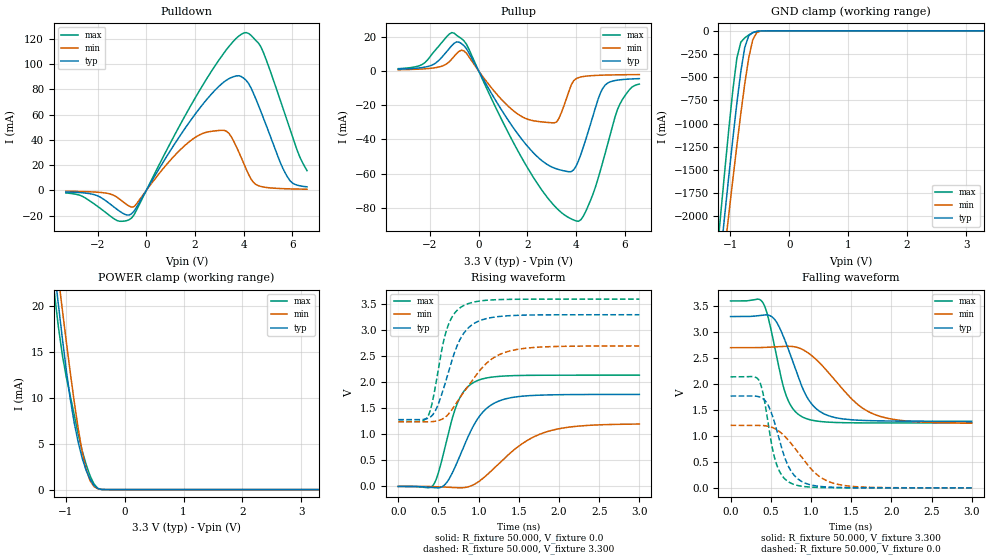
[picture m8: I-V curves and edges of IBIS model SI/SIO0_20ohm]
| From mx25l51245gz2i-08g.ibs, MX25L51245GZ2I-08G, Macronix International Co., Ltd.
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|   Model SI/SIO0_20ohm
[Model] SI/SIO0_20ohm
Model_type I/O
Vinl = 0.8
Vinh = 2.31
Vmeas = 1.65
Vref = 3.3
Cref = 30pF
Rref = 25000
Polarity   Non-Inverting
Enable   Active-High
C_comp   4.988pF   4.400pF   5.830pF
[Temperature Range]   25.000   85.000   -40.000
[Voltage Range]   3.300V   2.700V   3.600V
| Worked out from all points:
|   slope of the pulldown table from 0 to 0.495 V, typ, clamps not added: 30.6 ohm
|   slope of the pullup table from 0 to 0.495 V, typ, clamps not added: 39.9 ohm
|   GND clamp passes 1 mA (typ) near -0.46 V on its own axis
|   POWER clamp passes 1 mA (typ) near -0.57 V on its own axis
|   rising waveform, R_fixture 50.000, V_fixture 0.0: 20-80 % time 343ps typ, 579ps min, 240ps max; typ from 0 V to 1.77 V
|   rising waveform, R_fixture 50.000, V_fixture 3.300: 20-80 % time 272ps typ, 435ps min, 192ps max; typ from 1.28 V to 3.3 V
|   falling waveform, R_fixture 50.000, V_fixture 3.300: 20-80 % time 313ps typ, 535ps min, 215ps max; typ from 3.3 V to 1.28 V
|   falling waveform, R_fixture 50.000, V_fixture 0.0: 20-80 % time 226ps typ, 394ps min, 160ps max; typ from 1.77 V to 0 V
[Pulldown]
|Voltage   I(typ)   I(min)   I(max)
-3.3V     -1.128mA   -594uA     -1.951mA
-2.1V     -3.487mA   -1.228mA   -11.15mA
-1.2V     -14.9mA    -5.32mA    -23.76mA
-600mV    -18.36mA   -13.14mA   -21.72mA
1.3V      40.83mA    30.38mA    48.82mA
2.4V      70.12mA    45.71mA    85.9mA
3.3V      87.43mA    46.85mA    111.7mA
4.1V      87.19mA    17.06mA    125mA
4.4V      77mA       6.403mA    120.8mA
4.7V      62.79mA    3.216mA    113.9mA
5.8V      10.63mA    1.339mA    54.35mA
6.6V      2.908mA    1.018mA    15.71mA
[Pullup]
|Voltage   I(typ)   I(min)   I(max)
-3.3V     925.1uA    619.3uA    1.241mA
-2.3V     1.932mA    1.092mA    3.82mA
-1.1V     14.72mA    6.869mA    22.34mA
-700mV    15.87mA    12.06mA    18.77mA
1.1V      -26.38mA   -19.08mA   -32.88mA
2.2V      -47.14mA   -29.03mA   -61.12mA
3.2V      -57.28mA   -29.95mA   -80.19mA
4.1V      -52.61mA   -3.997mA   -87.92mA
4.6V      -30.88mA   -2.876mA   -75.48mA
5.1V      -10.19mA   -2.536mA   -53.17mA
5.8V      -5.272mA   -2.325mA   -19.45mA
6.6V      -4.569mA   -2.209mA   -7.761mA
[GND_clamp]
|Voltage   I(typ)   I(min)   I(max)
-3.3V     -16.26A    -15.32A    -17.42A
-1.223V   -2.789A    -3.098A    -2.397A
-1.156V   -2.37A     -2.716A    -1.934A
-1.089V   -1.956A    -2.336A    -1.48A
-1.022V   -1.549A    -1.962A    -1.041A
-888mV    -777.8mA   -1.235A    -293.3mA
-821mV    -438.6mA   -890.1mA   -121.9mA
-754mV    -178mA     -568.8mA   -75.51mA
-620mV    -19.48mA   -98.95mA   -20.55mA
-553mV    -6.969mA   -20.17mA   -6.693mA
-419mV    -222.9uA   -429.4uA   -105.6uA
3.3V      0A         0A         0A
[POWER_clamp]
|Voltage   I(typ)   I(min)   I(max)
-3.266V   152.7mA    145.5mA    161.8mA
-1.189V   23.95mA    26.75mA    21.39mA
-1.122V   20.15mA    23.14mA    17.74mA
-1.055V   16.48mA    19.6mA     14.66mA
-921mV    9.899mA    12.79mA    10.21mA
-854mV    7.291mA    9.606mA    8.157mA
-787mV    5.192mA    6.684mA    6.081mA
-720mV    3.463mA    4.167mA    4.258mA
-653mV    2.116mA    2.232mA    2.767mA
-586mV    1.136mA    979.3uA    1.522mA
-452mV    107.4uA    79.5uA     130.8uA
3.3V      0A         0A         0A
[Ramp]
| variable   typ   min   max
dV/dt_r   1.061/0.344n   0.719/0.586n   1.283/0.245n
dV/dt_f   1.210/0.322n   0.873/0.545n   1.410/0.215n
R_load = 50.000
[Rising Waveform]
R_fixture= 50.000
V_fixture= 0.0
V_fixture_min= 0.0
V_fixture_max= 0.0
|time   V(typ)   V(min)   V(max)
0s        1.141uV    1.159uV    1.08uV
437ps     -21.93mV   -4.188mV   28.2mV
497ps     -27.04mV   -7.155mV   249mV
588ps     46.08mV    -12.95mV   789.9mV
736ps     473.3mV    -26.14mV   1.599V
837ps     842.8mV    -19.94mV   1.868V
968ps     1.251V     58.88mV    2.022V
1.258ns   1.644V     448.1mV    2.116V
1.8ns     1.756V     1.026V     2.137V
3ns       1.768V     1.198V     2.138V
[Rising Waveform]
R_fixture= 50.000
V_fixture= 3.300
V_fixture_min= 2.700
V_fixture_max= 3.600
|time   V(typ)   V(min)   V(max)
0s        1.283V     1.24V      1.25V
367ps     1.308V     1.24V      1.341V
468ps     1.472V     1.255V     1.968V
547ps     1.797V     1.294V     2.665V
606ps     2.094V     1.359V     3.027V
696ps     2.554V     1.538V     3.318V
811ps     2.934V     1.801V     3.473V
1.1ns     3.227V     2.369V     3.578V
1.378ns   3.281V     2.599V     3.595V
3ns       3.3V       2.7V       3.6V
[Falling Waveform]
R_fixture= 50.000
V_fixture= 3.300
V_fixture_min= 2.700
V_fixture_max= 3.600
|time   V(typ)   V(min)   V(max)
0s        3.3V       2.7V       3.6V
400ps     3.326V     2.704V     3.572V
460ps     3.33V      2.708V     3.331V
545ps     3.251V     2.714V     2.746V
690ps     2.789V     2.727V     1.785V
895ps     1.927V     2.665V     1.365V
1.016ns   1.603V     2.539V     1.302V
1.166ns   1.423V     2.312V     1.271V
1.761ns   1.293V     1.434V     1.251V
3ns       1.283V     1.246V     1.25V
[Falling Waveform]
R_fixture= 50.000
V_fixture= 0.0
V_fixture_min= 0.0
V_fixture_max= 0.0
|time   V(typ)   V(min)   V(max)
0s        1.768V     1.204V     2.139V
350ps     1.756V     1.205V     2.08V
400ps     1.721V     1.201V     1.849V
456ps     1.625V     1.19V      1.363V
560ps     1.191V     1.134V     511.3mV
638ps     757.9mV    1.047V     242.2mV
753ps     323.5mV    856.5mV    88.85mV
1.058ns   39.2mV     278.5mV    9.669mV
1.318ns   8.96mV     73.71mV    2.214mV
3ns       268uV      270.6uV    373.4uV
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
